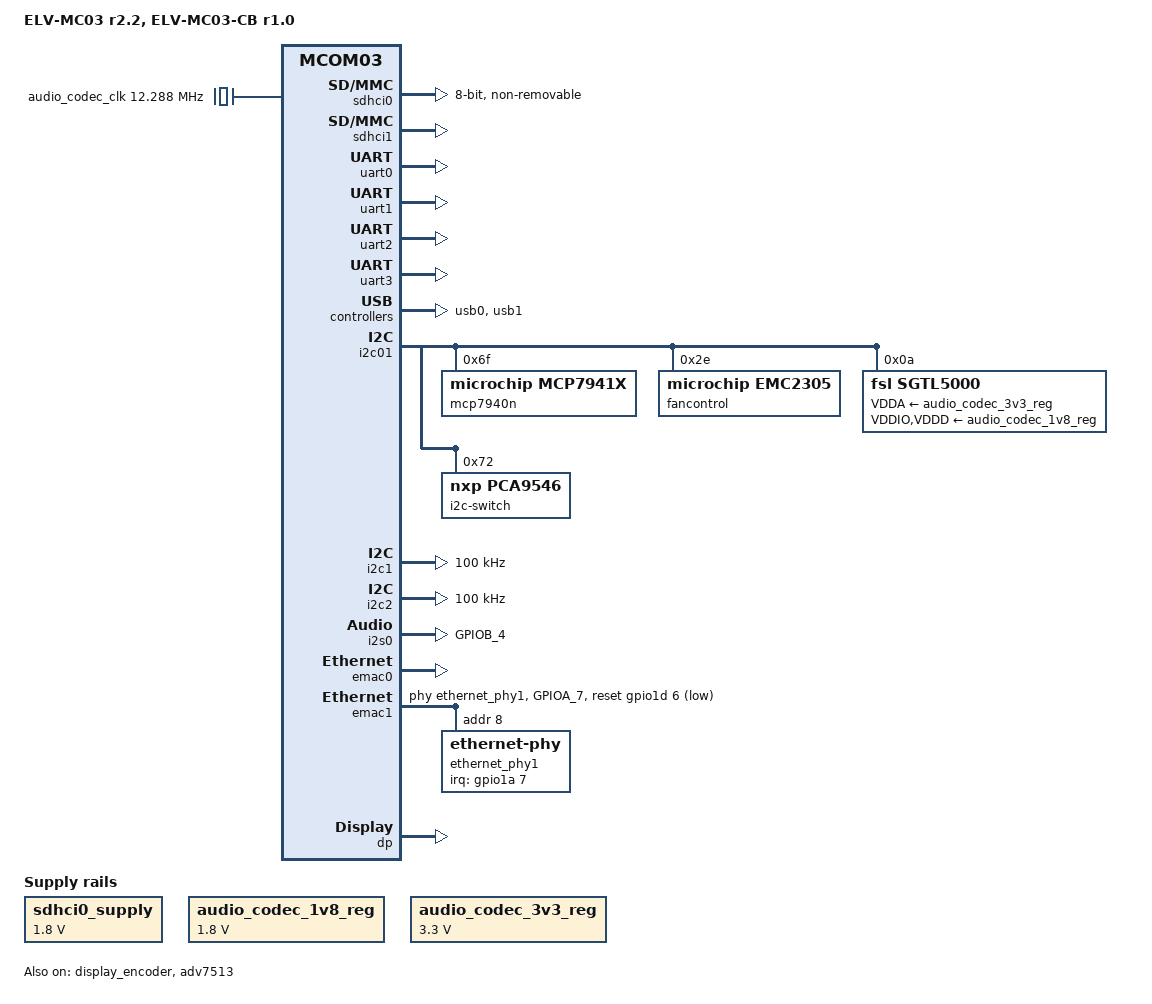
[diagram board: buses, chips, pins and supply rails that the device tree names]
// SPDX-License-Identifier: GPL-2.0+
/*
 * Copyright 2022 RnD Center "ELVEES", JSC
 */

/dts-v1/;

#include <dt-bindings/net/ti-dp83867.h>

#include "mcom03-elvmc03-r2.2.dtsi"

/ {
	model = "ELV-MC03 r2.2, ELV-MC03-CB r1.0";
	compatible = "elvees,elvmc03-r2.2-elvmc03cb-r1.0",
		     "elvees,elvmc03-elvmc03cb",
		     "elvees,elvmc03cb-r1.0",
		     "elvees,elvmc03cb",
		     "elvees,elvmc03-r2.2",
		     "elvees,elvmc03",
		     "elvees,mcom03";

	sdhci0_supply: regulator@0 {
		compatible = "regulator-fixed";
		regulator-name = "sdhci1-supply";
		regulator-min-microvolt = <1800000>;
		regulator-max-microvolt = <1800000>;
		regulator-always-on;
	};

	audio_codec_1v8_reg: regulator@1 {
		compatible = "regulator-fixed";
		regulator-name = "audio-codec-1v8";
		regulator-min-microvolt = <1800000>;
		regulator-max-microvolt = <1800000>;
		regulator-always-on;
	};

	audio_codec_3v3_reg: regulator@2 {
		compatible = "regulator-fixed";
		regulator-name = "audio-codec-3v3";
		regulator-min-microvolt = <3300000>;
		regulator-max-microvolt = <3300000>;
		regulator-always-on;
	};

	sound_card: sound {
		#address-cells = <1>;
		#size-cells = <0>;
		compatible = "simple-audio-card";
		simple-audio-card,name = "ELV-MC03-CB-Audio";
		status = "okay";
		simple-audio-card,routing =
			"MIC_IN", "Mic Bias";

		simple-audio-card,dai-link@0{
			reg = <0>;
			format = "i2s";
			bitclock-master = <&dailink0_master>;
			frame-master = <&dailink0_master>;

			dailink0_master: cpu {
				sound-dai = <&i2s0>;
			};

			codec {
				sound-dai = <&sgtl5000>;
			};
		};

		simple-audio-card,dai-link@1{
			reg = <1>;
			format = "i2s";
			bitclock-master = <&dailink1_master>;
			frame-master = <&dailink1_master>;

			dailink1_master: cpu {
				sound-dai = <&i2s0>;
			};

			codec {
				sound-dai = <&adv7513>;
			};
		};
	};

	audio_codec_clk: audio_codec_clk {
		status = "okay";
		#clock-cells = <0>;
		compatible = "fixed-clock";
		clock-frequency = <12288000>;
	};
};

&sdhci0 {
	status = "okay";
	non-removable;
	bus-width = <8>;
	vqmmc-supply = <&sdhci0_supply>;
};

&sdhci1 {
	status = "okay";

	/* Disable 1.8V support
	 * Disable SDR50, SDR104 and DDR50 support
	 */
	sdhci-caps-mask = <0x7 0x4000000>;
	sdhci-caps = <0x0 0x0>;

	/* SDMMC1_WP pulled-up on ELV-MC03-CB */
	disable-wp;
};

&uart0 {
	status = "okay";
};

&uart1 {
	status = "okay";
};

&uart2 {
	status = "okay";
};

&uart3 {
	status = "okay";
};

&usb0 {
	status = "okay";
};

&usb1 {
	status = "okay";
};

&i2c01 {
	mcp7940n: rtc@6f {
		compatible = "microchip,mcp7941x";
		reg = <0x6f>;
		/* MFP(7) pin routed to GPIO0C_3 which do not have interrupt line.
		 * So device do not use interrupts and can not be used as
		 * wakeup-source */
	};

	fancontrol: emc2302@2e {
		compatible = "microchip,emc2305";
		reg = <0x2e>;
		#address-cells = <1>;
		#size-cells = <0>;
		microchip,pwm-separate;
		#cooling-cells = <2>;

		channel@0 {
			reg = <0>;
			microchip,pwm-push-pull;
		};

		channel@1 {
			reg = <1>;
			microchip,pwm-push-pull;
		};
	};

	sgtl5000: audio-codec@a {
		status = "okay";
		#sound-dai-cells = <0>;
		compatible = "fsl,sgtl5000";
		reg = <0xa>;
		clocks = <&audio_codec_clk>;
		clock-names = "mclk";
		micbias-resistor-k-ohms = <2>;
		/*
		 * 2.25 V is common micbias voltage according to Android spec
		 * https://source.android.com/docs/core/interaction/accessories/headset/jack-headset-spec
		 */
		micbias-voltage-m-volts = <2250>;
		VDDA-supply = <&audio_codec_3v3_reg>;
		VDDIO-supply = <&audio_codec_1v8_reg>;
		VDDD-supply = <&audio_codec_1v8_reg>;
	};

	i2c-switch@72 {
		compatible = "nxp,pca9546";
		reg = <0x72>;
		#address-cells = <1>;
		#size-cells = <0>;

		i2c_cam0: i2c01@0 {
			#address-cells = <1>;
			#size-cells = <0>;
			reg = <0>;
		};

		i2c_cam1: i2c01@1 {
			#address-cells = <1>;
			#size-cells = <0>;
			reg = <1>;
		};

		i2c_lcd: i2c01@2 {
			#address-cells = <1>;
			#size-cells = <0>;
			reg = <2>;
		};

		i2c_fmc: i2c01@3 {
			#address-cells = <1>;
			#size-cells = <0>;
			reg = <3>;
		};
	};
};

&i2c1 {
	/* Connected to connector. Some external devices may not support
	 * for 400kHz */
	clock-frequency = <100000>;
	status = "okay";
};

&i2c2 {
	/* Connected to connector. Some external devices may not support
	 * for 400kHz */
	clock-frequency = <100000>;
	status = "okay";
};

&i2s0 {
	status = "okay";

	pinctrl-0 = <&i2s0_mux_sdo0 &i2s0_mux_sdi0 &i2s0_mux_sdo1 &i2s0_sdi0_cfg>;
};

&hsperiph_pinctrl {
	pinctrl-0 = <&hsperiph_misc_default &emac_v18>;
};

&emac0 {
	status = "okay";
};

&lsperiph1_pinctrl {
	emac1_int_cfg: emac1-int-cfg {
		phy {
			pins = "GPIOA_7";
			input-enable;
		};
	};

	i2s0_sdi0_cfg: i2s0-sdi0-cfg {
		sdi0 {
			pins = "GPIOB_4";
			input-enable;
		};
	};
};

&emac1 {
	status = "okay";
	pinctrl-0 = <&emac1_default &emac1_int_cfg>;
	phy-handle = <&ethernet_phy1>;
	reset-gpios = <&gpio1d 6 GPIO_ACTIVE_LOW>;
	reset-post-delay-us = <400000>;

	ethernet_phy1: ethernet-phy@8 {
		reg = <0x8>;
		ti,rx-internal-delay = <DP83867_RGMIIDCTL_2_50_NS>;
		ti,tx-internal-delay = <DP83867_RGMIIDCTL_2_50_NS>;
		ti,fifo-depth = <DP83867_PHYCR_FIFO_DEPTH_4_B_NIB>;
		interrupt-parent = <&gpio1a>;
		interrupts = <7 IRQ_TYPE_LEVEL_LOW>;
	};
};

&dp {
	status = "okay";
};

&display_encoder {
	status = "okay";
	video-output = "rgb";

	ports {
		port@2 {
			reg = <2>;

			rgb_out: endpoint {
				remote-endpoint = <&adv7513_in>;
			};
		};
	};
};

&adv7513 {
	status = "okay";

	port@0 {
		reg = <0>;
		adv7513_in: endpoint {
			remote-endpoint = <&rgb_out>;
		};
	};
};

/*
 * The fans are enabled on boot (a hardware feature).
 * The fan controller driver disables them if the CPU temperature is
 * lower than the trip point.
 * Upon reaching the trip point the thermal subsystem driver enables the fans.
 *
 * Thermal zones can be enabled/disabled via sysfs by writing said state into
 * the corresponding /sys/class/thermal/thermal_zoneX/mode file.
 */
&cpu_thermal {
	cooling_maps: cooling-maps {
		map0 {
			trip = <&cpu_alert0>;
			cooling-device = <&fancontrol
					THERMAL_NO_LIMIT
					THERMAL_NO_LIMIT>;
		};
	};
};
